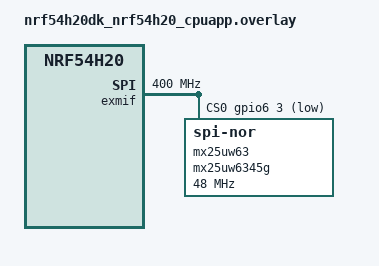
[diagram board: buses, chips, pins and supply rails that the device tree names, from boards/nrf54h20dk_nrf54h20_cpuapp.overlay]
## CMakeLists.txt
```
#
# Copyright (c) 2024 Nordic Semiconductor ASA
#
# SPDX-License-Identifier: LicenseRef-Nordic-5-Clause
#

cmake_minimum_required(VERSION 3.20.0)

find_package(Zephyr REQUIRED HINTS $ENV{ZEPHYR_BASE})
project(flash_companion)

target_sources(app PRIVATE src/main.c)
```

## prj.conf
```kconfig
#
# Copyright (c) 2024 Nordic Semiconductor ASA
#
# SPDX-License-Identifier: LicenseRef-Nordic-5-Clause
#

# Minimal scheduler configuration
CONFIG_NUM_PREEMPT_PRIORITIES=0
CONFIG_MULTITHREADING=y
CONFIG_NUM_COOP_PRIORITIES=16
CONFIG_NUM_METAIRQ_PRIORITIES=0
CONFIG_SCHED_SIMPLE=y
CONFIG_WAITQ_SIMPLE=y
CONFIG_TICKLESS_KERNEL=n
CONFIG_SSF_DEVICE_INFO_SERVICE_ENABLED=n

# Enable peripherals needed by the flash companion firmware
CONFIG_GPIO=y
CONFIG_PINCTRL=y
CONFIG_FLASH=y

# Disable unused XIP feature in the MSPI driver
CONFIG_MSPI_XIP=n

# Disable power management
CONFIG_PM=n

# Disable GPD service and NRFS
CONFIG_SOC_NRF54H20_GPD=n
CONFIG_NRFS=n

# Disable unneeded interrupt features
CONFIG_DYNAMIC_INTERRUPTS=n
CONFIG_IRQ_OFFLOAD=n

# Disable memory protection
CONFIG_THREAD_STACK_INFO=n
CONFIG_BUILTIN_STACK_GUARD=n

# Disable unneeded ARM core functionality
CONFIG_ARM_MPU=n
CONFIG_FPU=n

# Disable boot banner
CONFIG_BOOT_BANNER=n
CONFIG_NCS_BOOT_BANNER=n
CONFIG_BOOT_DELAY=0

# Disable serial communication
CONFIG_SERIAL=n
CONFIG_CONSOLE=n
CONFIG_UART_CONSOLE=n
CONFIG_STDOUT_CONSOLE=n
CONFIG_PRINTK=n
CONFIG_EARLY_CONSOLE=n

# Build
CONFIG_SIZE_OPTIMIZATIONS=y

# Enable external memory service
CONFIG_SSF_EXTMEM_SERVICE_ENABLED=y

# Link against zephyr,code-partition
CONFIG_USE_DT_CODE_PARTITION=y

CONFIG_SUIT_LOCAL_ENVELOPE_GENERATE=n
CONFIG_SUIT_ENVELOPE_TARGET=""
CONFIG_NRF_REGTOOL_GENERATE_UICR=n
CONFIG_SOC_NRF54H20_GENERATE_BICR=n

# Enable canonical zcbor encoding
CONFIG_ZCBOR_CANONICAL=y

# Enable LTO
CONFIG_LTO=y
CONFIG_ISR_TABLES_LOCAL_DECLARATION=y

# Minimize flash usage
CONFIG_CLOCK_CONTROL=n

# Set flash base address to zero to ensure that the executable
# code is placed in CPUAPP RAM by the linker.
CONFIG_FLASH_BASE_ADDRESS=0x0
CONFIG_COMMON_LIBC_MALLOC=n
CONFIG_COMMON_LIBC_CALLOC=n
CONFIG_COMMON_LIBC_REALLOCARRAY=n
CONFIG_PICOLIBC_IO_LONG_LONG=n
```

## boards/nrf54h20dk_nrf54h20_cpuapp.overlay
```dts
/*
 * Copyright (c) 2024 Nordic Semiconductor ASA
 *
 * SPDX-License-Identifier: LicenseRef-Nordic-5-Clause
 */

/ {
	chosen {
		extmem-device = &mx25uw63;
		zephyr,code-partition = &cpuapp_ram0;
	};
};

&cpusec_cpuapp_ipc {
	status = "okay";
};

&cpusec_bellboard {
	status = "okay";
};

&cpuapp_bellboard {
	status = "okay";
};

&uart136 {
	status = "disabled";
};

&cpurad_bellboard {
	status = "disabled";
};

&pwm120 {
	status = "disabled";
};

&cpuapp_cpurad_ipc {
	status = "disabled";
};

&exmif_default {
	group1 {
		psels = <NRF_PSEL(EXMIF_CK, 6, 0)>,
			<NRF_PSEL(EXMIF_DQ0, 6, 7)>,
			<NRF_PSEL(EXMIF_DQ1, 6, 5)>;
		nordic,drive-mode = <NRF_DRIVE_H0H1>;
	};
};

/* Legacy exmif driver overlay - currently needed for DFU from extmem */

/delete-node/ &exmif;

&global_peripherals {
	exmif: spi@95000 {
		compatible = "nordic,nrf-exmif-spi", "snps,designware-spi";
		pinctrl-0 = <&exmif_default>;
		pinctrl-names = "default";
		#address-cells = <1>;
		#size-cells = <0>;
		reg = <0x95000 0x500 0x95500 0xb00>;
		reg-names = "wrapper", "core";
		interrupts = <149 NRF_DEFAULT_IRQ_PRIORITY>;
		power-domains = <&gpd NRF_GPD_FAST_ACTIVE0>;
		clock-frequency = <DT_FREQ_M(400)>;
		fifo-depth = <32>;
		max-xfer-size = <16>;
		cs-gpios = <&gpio6 3 GPIO_ACTIVE_LOW>;
	};
};

&exmif {
	mx25uw63: mx25uw6345g@0 {
		compatible = "jedec,spi-nor";
		reg = <0>;
		spi-max-frequency = <DT_FREQ_M(48)>;
		jedec-id = [c2 84 37];
		sfdp-bfp = [
			e5 20 8a ff  ff ff ff 03  00 ff 00 ff  00 ff 00 ff
			ee ff ff ff  ff ff 00 ff  ff ff 00 ff  0c 20 10 d8
			00 ff 00 ff  87 79 01 00  84 12 00 c4  cc 04 67 46
			30 b0 30 b0  f4 bd d5 5c  00 00 00 ff  10 10 00 20
			00 00 00 00  00 00 7c 23  48 00 00 00  00 00 88 88
		];
		size = <67108864>;
		has-dpd;
		t-enter-dpd = <10000>;
		t-exit-dpd = <30000>;
	};
};

&mx25uw63 {
	status = "okay";
};
```

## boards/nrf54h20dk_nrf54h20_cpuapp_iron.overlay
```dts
/*
 * Copyright (c) 2024 Nordic Semiconductor ASA
 *
 * SPDX-License-Identifier: LicenseRef-Nordic-5-Clause
 */

/ {
	chosen {
		extmem-device = &mx25uw63;
		zephyr,code-partition = &cpuapp_ram0;
	};
};

&cpusec_cpuapp_ipc {
	status = "okay";
};

&cpusec_bellboard {
	status = "okay";
};

&cpuapp_bellboard {
	status = "okay";
};

&uart136 {
	status = "disabled";
};

&cpurad_bellboard {
	status = "disabled";
};

&pwm120 {
	status = "disabled";
};

&cpuapp_cpurad_ipc {
	status = "disabled";
};

&prng {
	status = "disabled";
};


&exmif_default {
	group1 {
		psels = <NRF_PSEL(EXMIF_CK, 6, 0)>,
			<NRF_PSEL(EXMIF_DQ0, 6, 7)>,
			<NRF_PSEL(EXMIF_DQ1, 6, 5)>;
		nordic,drive-mode = <NRF_DRIVE_H0H1>;
	};
};

&mx25uw63 {
	status = "okay";
};
```

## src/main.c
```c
/*
 * Copyright (c) 2024 Nordic Semiconductor ASA
 *
 * SPDX-License-Identifier: LicenseRef-Nordic-5-Clause
 */

#include <zephyr/kernel.h>
#include <sdfw/sdfw_services/extmem_remote.h>

int main(void)
{
	extmem_remote_init();
	return 0;
}
```
